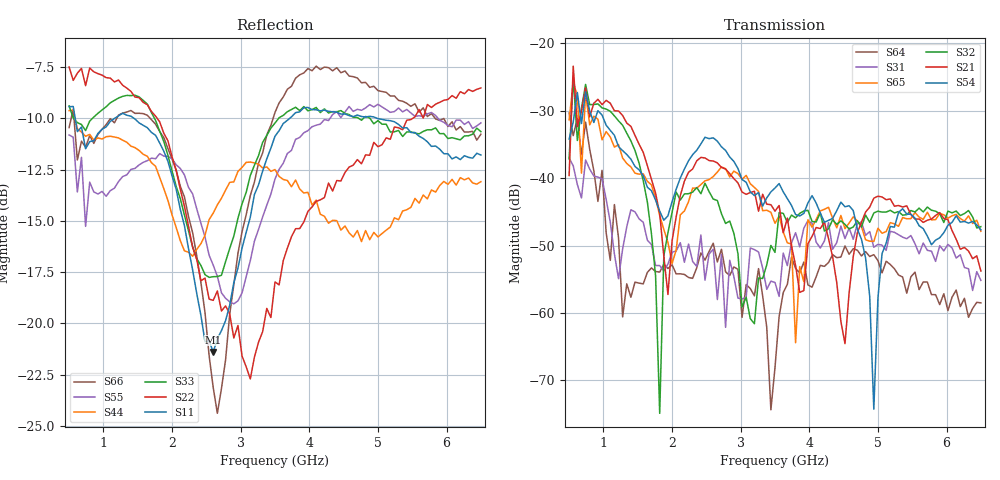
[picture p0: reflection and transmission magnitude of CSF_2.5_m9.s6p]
!Keysight Technologies,M9804A,MY58100912,A.14.10.03
!Date: Thursday, April 27, 2023 10:28:33
!Correction: S11(C  6-Port  )
!S12(C  6-Port  )
!S13(C  6-Port  )
!S14(C  6-Port  )
!S15(C  6-Port  )
!S16(C  6-Port  )
!S21(C  6-Port  )
!S22(C  6-Port  )
!S23(C  6-Port  )
!S24(C  6-Port  )
!S25(C  6-Port  )
!S26(C  6-Port  )
!S31(C  6-Port  )
!S32(C  6-Port  )
!S33(C  6-Port  )
!S34(C  6-Port  )
!S35(C  6-Port  )
!S36(C  6-Port  )
!S41(C  6-Port  )
!S42(C  6-Port  )
!S43(C  6-Port  )
!S44(C  6-Port  )
!S45(C  6-Port  )
!S46(C  6-Port  )
!S51(C  6-Port  )
!S52(C  6-Port  )
!S53(C  6-Port  )
!S54(C  6-Port  )
!S55(C  6-Port  )
!S56(C  6-Port  )
!S61(C  6-Port  )
!S62(C  6-Port  )
!S63(C  6-Port  )
!S64(C  6-Port  )
!S65(C  6-Port  )
!S66(C  6-Port  )
!S6P File: Measurement: :
# Hz S  RI  R 50
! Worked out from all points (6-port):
!   101 points, 500 MHz to 6.5 GHz, reference 50 ohm
!   strongest paths, dB at 500 MHz, 2 GHz, 3.5 GHz, 5 GHz, 6.5 GHz:
!     S54: -34.2, -43.5, -41.5, -57.8, -47.7
!     S21: -39.6, -49.3, -44.9, -42.7, -53.8
!     S32: -37.2, -45.1, -51.0, -44.9, -47.2
!     S65: -31.4, -52.7, -46.7, -47.4, -47.9
!     S31: -37.0, -51.0, -55.5, -49.8, -55.2
!     S64: -30.3, -52.9, -68.1, -52.2, -58.5
!   lowest |S11| = -21.4 dB at 2.6 GHz (marker M1), VSWR 1.19, Z = 42.4 + j2.17 ohm
!   |S11| at or under -10 dB: 588.2 MHz to 1.164 GHz (575.6 MHz wide, 65.7 % of centre); 1.445 GHz to 3.715 GHz (2.27 GHz wide, 88 % of centre); 4.987 GHz to end of sweep
